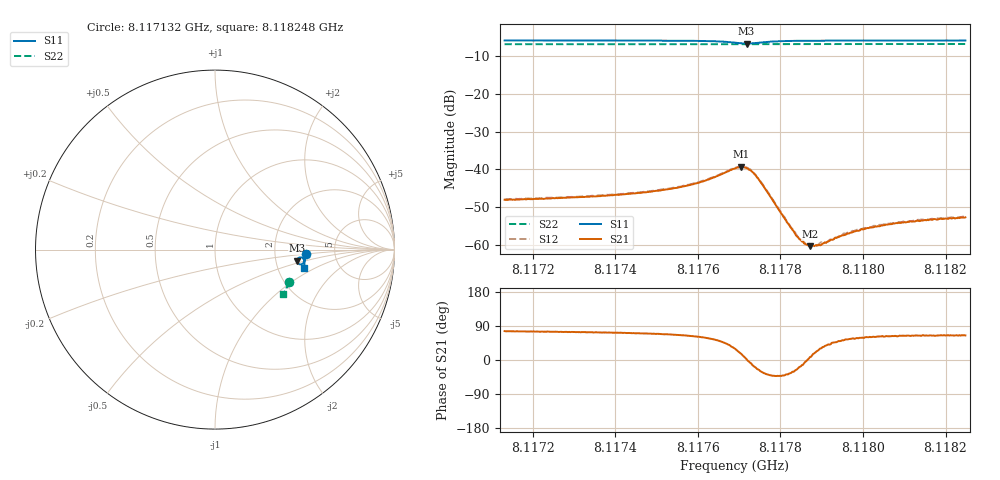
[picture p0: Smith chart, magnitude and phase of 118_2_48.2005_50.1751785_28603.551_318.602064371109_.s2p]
#  HZ  S  RI  R  50.00
! Rohde & Schwarz Vector Network Analyzer
! Rohde-Schwarz,ZNB20-2Port,1311601062101988,3.16
! Created: UTC 3/20/2024, 11:41:17 AM
! freq[Hz]  re:S11  im:S11  re:S21  im:S21  re:S12  im:S12  re:S22  im:S22
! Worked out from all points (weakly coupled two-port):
!   401 points, 8.117132 GHz to 8.118248 GHz, reference 50 ohm
!   highest |S21| = -39.25 dB at 8.117704 GHz (marker M1); lowest = -60.3 dB at 8.117871 GHz (marker M2)
!   lowest |S11| = -6.7 dB at 8.117718 GHz (marker M3), VSWR 2.71, Z = 132 - j20.5 ohm
!   |S11| at or under -10 dB: nowhere
!   |S22| runs from -6.9 to -6.9 dB; largest |S21 - S12| = 0.00037
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8.1171322e9  0.5052 -0.0273  0.000943 0.00386  0.00102 0.0039  0.4142 -0.1783
8.1173191e9  0.5036 -0.0428  0.00121 0.00414  0.00129 0.0042  0.4095 -0.1903
8.1174223e9  0.5021 -0.0521  0.00147 0.00446  0.00159 0.00454  0.4067 -0.1972
8.117506e9  0.5001 -0.0606  0.00189 0.00489  0.00195 0.00497  0.4043 -0.2025
8.1176037e9  0.4938 -0.0732  0.00323 0.00586  0.00335 0.00594  0.4012 -0.2088
8.1176902e9  0.4663 -0.0801  0.00892 0.0051  0.00919 0.00515  0.3973 -0.2141
8.1177041e9  0.4589 -0.0729  0.0104 0.00322  0.0105 0.00313  0.3967 -0.2146
8.1177181e9  0.4563 -0.0614  0.0104 0.000413  0.0106 0.000315  0.3962 -0.2148
8.117732e9  0.4608 -0.0502  0.00906 -0.0021  0.00907 -0.00215  0.3963 -0.2152
8.1177459e9  0.4699 -0.0442  0.0069 -0.00323  0.00681 -0.0033  0.3961 -0.2156
8.1178213e9  0.4953 -0.0559  0.0015 -0.00108  0.0015 -0.00113  0.3948 -0.2212
8.1178408e9  0.4968 -0.0597  0.00118 -0.000528  0.0012 -0.00055  0.3944 -0.2223
8.1178575e9  0.4976 -0.0626  0.00104 -0.000149  0.00108 -0.000154  0.3939 -0.2236
8.1178715e9  0.498 -0.0647  0.000958 0.000126  0.00104 8.53e-05  0.3935 -0.2246
8.1178771e9  0.4982 -0.0655  0.000973 0.000222  0.000991 0.000189  0.3933 -0.2247
8.1178882e9  0.4982 -0.0671  0.000917 0.000396  0.000906 0.000357  0.393 -0.2256
8.1179078e9  0.4986 -0.0696  0.000866 0.000654  0.000845 0.000664  0.3925 -0.2268
8.1179496e9  0.4984 -0.0746  0.000828 0.00106  0.000846 0.00103  0.3911 -0.2295
8.1179803e9  0.4984 -0.0779  0.00085 0.00125  0.000862 0.00129  0.3899 -0.2313
8.118064e9  0.4974 -0.0859  0.000872 0.00167  0.000873 0.00168  0.387 -0.2366
8.1181393e9  0.4965 -0.0924  0.000905 0.00188  0.000954 0.00195  0.3846 -0.2412
8.1182481e9  0.4948 -0.1012  0.00099 0.0021  0.00101 0.00211  0.3807 -0.2479
